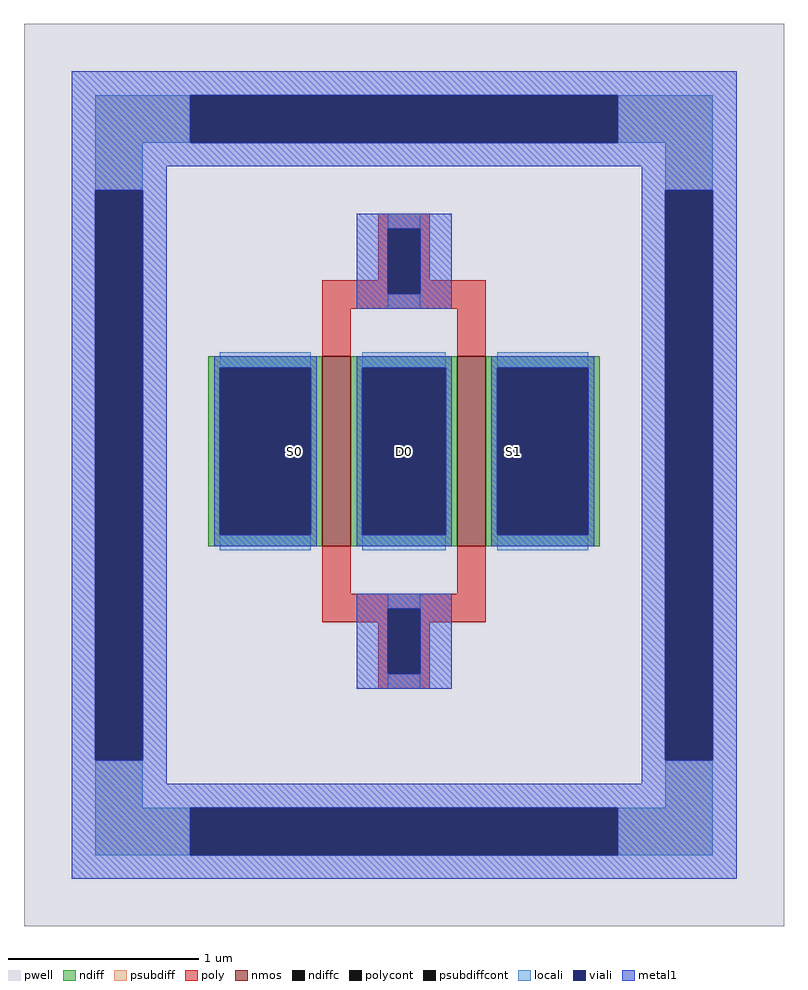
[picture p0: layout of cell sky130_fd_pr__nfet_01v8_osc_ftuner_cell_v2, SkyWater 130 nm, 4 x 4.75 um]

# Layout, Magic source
magic
tech sky130A
magscale 1 2
<< pwell >>
rect -411 -819 389 131
<< nmos >>
rect -97 -419 -67 -219
rect 45 -419 75 -219
<< ndiff >>
rect -217 -231 -97 -219
rect -217 -407 -205 -231
rect -109 -407 -97 -231
rect -217 -419 -97 -407
rect -67 -231 45 -219
rect -67 -407 -55 -231
rect 33 -407 45 -231
rect -67 -419 45 -407
rect 75 -231 195 -219
rect 75 -407 87 -231
rect 183 -407 195 -231
rect 75 -419 195 -407
<< ndiffc >>
rect -205 -407 -109 -231
rect -55 -407 33 -231
rect 87 -407 183 -231
<< psubdiff >>
rect -336 6 -236 56
rect 214 6 314 56
rect -336 -44 -286 6
rect 264 -44 314 6
rect -336 -694 -286 -644
rect 264 -694 314 -644
rect -336 -744 -236 -694
rect 214 -744 314 -694
<< psubdiffcont >>
rect -236 6 214 56
rect -336 -644 -286 -44
rect 264 -644 314 -44
rect -236 -744 214 -694
<< poly >>
rect -38 -85 16 -69
rect -38 -139 -28 -85
rect -97 -153 -28 -139
rect 6 -139 16 -85
rect 6 -153 75 -139
rect -97 -169 75 -153
rect -97 -219 -67 -169
rect 45 -219 75 -169
rect -97 -469 -67 -419
rect 45 -469 75 -419
rect -97 -485 75 -469
rect -97 -499 -28 -485
rect -38 -553 -28 -499
rect 6 -499 75 -485
rect 6 -553 16 -499
rect -38 -569 16 -553
<< polycont >>
rect -28 -153 6 -85
rect -28 -553 6 -485
<< locali >>
rect -336 6 -236 56
rect 214 6 314 56
rect -336 -44 -286 6
rect 264 -44 314 6
rect -28 -85 6 -69
rect -28 -169 6 -153
rect -205 -231 -109 -215
rect -205 -423 -109 -407
rect -55 -231 33 -215
rect -55 -423 33 -407
rect 87 -231 183 -215
rect 87 -423 183 -407
rect -28 -485 6 -469
rect -28 -569 6 -553
rect -336 -694 -286 -644
rect 264 -694 314 -644
rect -336 -744 -236 -694
rect 214 -744 314 -694
<< viali >>
rect -236 6 214 56
rect -336 -644 -286 -44
rect -28 -153 6 -85
rect -205 -407 -109 -231
rect -55 -407 33 -231
rect 87 -407 183 -231
rect -28 -553 6 -485
rect 264 -644 314 -44
rect -236 -744 214 -694
<< metal1 >>
rect -361 56 339 81
rect -361 6 -236 56
rect 214 6 339 56
rect -361 -19 339 6
rect -361 -44 -261 -19
rect -361 -644 -336 -44
rect -286 -644 -261 -44
rect 239 -44 339 -19
rect -61 -85 39 -69
rect -61 -153 -28 -85
rect 6 -153 39 -85
rect -61 -169 39 -153
rect -211 -231 -103 -219
rect -211 -407 -205 -231
rect -109 -407 -103 -231
rect -211 -419 -103 -407
rect -61 -231 39 -219
rect -61 -407 -55 -231
rect 33 -407 39 -231
rect -61 -419 39 -407
rect 81 -231 189 -219
rect 81 -407 87 -231
rect 183 -407 189 -231
rect 81 -419 189 -407
rect -61 -485 39 -469
rect -61 -553 -28 -485
rect 6 -553 39 -485
rect -61 -569 39 -553
rect -361 -669 -261 -644
rect 239 -644 264 -44
rect 314 -644 339 -44
rect 239 -669 339 -644
rect -361 -694 339 -669
rect -361 -744 -236 -694
rect 214 -744 339 -694
rect -361 -769 339 -744
<< labels >>
rlabel ndiffc -11 -319 -11 -319 0 D0
port 107 nsew
rlabel ndiffc -11 -319 -11 -319 0 D1
port 110 nsew
rlabel ndiffc 104 -319 104 -319 0 S1
port 111 nsew
rlabel ndiffc -126 -319 -126 -319 0 S0
port 108 nsew
<< end >>
